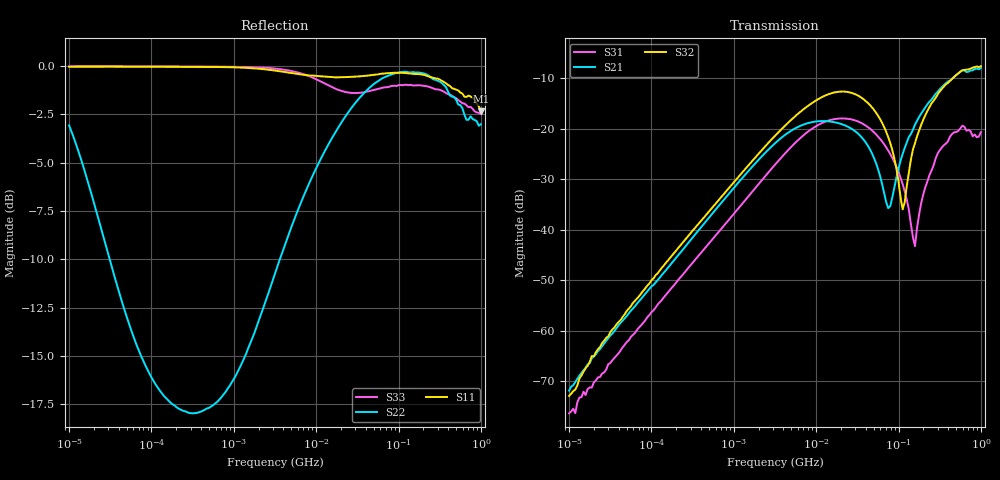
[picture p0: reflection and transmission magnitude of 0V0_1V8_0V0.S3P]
!Keysight Technologies,E5080A,MY55100144,A.11.70.03
!Date: Monday, November 13, 2017 17:24:20
!Correction: S11(Full 3 Port(1,2,3))
!S12(Full 3 Port(1,2,3))
!S13(Full 3 Port(1,2,3))
!S21(Full 3 Port(1,2,3))
!S22(Full 3 Port(1,2,3))
!S23(Full 3 Port(1,2,3))
!S31(Full 3 Port(1,2,3))
!S32(Full 3 Port(1,2,3))
!S33(Full 3 Port(1,2,3))
!S3P File: Measurements: <S11,S12,S13>,
!<S21,S22,S23>,
!<S31,S32,S33>:Log Frequency Sweep
# Hz S  RI  R 50
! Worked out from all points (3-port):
!   201 points, 10 kHz to 1 GHz, reference 50 ohm
!   strongest paths, dB at 10 kHz, 177.8 kHz, 3.162 MHz, 56.23 MHz, 1 GHz:
!     S32: -72.9, -45.1, -21.4, -17.4, -7.7
!     S21: -71.9, -46.5, -22.9, -28.0, -8.0
!     S31: -76.3, -51.4, -27.2, -21.6, -20.7
!   lowest |S11| = -2.3 dB at 1 GHz (marker M1), VSWR 7.47, Z = 374 + j6.29 ohm
!   |S11| at or under -10 dB: nowhere
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10000  0.9967 -0.00288  -0.000139 0.000144  -2.99e-08 0.000181
       -2.12e-05 0.000255  0.409 -0.5712  -0.00012 0.000131
       -5.4e-06 0.000152  -0.000154 0.000166  1 -0.00229
177827.9  0.9958 -0.0482  -5.92e-05 0.00502  0.000114 0.0027
          0.000492 0.00468  -0.1081 -0.0782  -0.000116 0.00429
          0.000126 0.00268  1.11e-05 0.00555  0.9987 -0.018
3162278  0.6836 -0.6936  0.0433 0.0646  0.0156 0.0401
         0.049 0.0519  -0.2131 -0.1973  0.0219 0.0672
         0.017 0.0405  0.0325 0.0782  0.9434 -0.2857
2.113489e7  -0.7226 -0.596  0.1152 -0.0367  0.127 -0.0035
            0.0989 -0.0467  -0.6808 -0.249  0.2282 0.00904
            0.125 -0.0141  0.2321 0.00412  0.0724 -0.8576
8.413951e7  -0.9599 0.0479  0.0153 0.0147  0.0178 -0.0476
            0.0149 0.0147  -0.9333 0.197  0.0301 -0.053
            0.0175 -0.0481  0.0298 -0.0533  -0.8275 -0.3251
1.122018e8  -0.9438 0.1806  0.0228 0.0513  0.00682 -0.0272
            0.0228 0.0512  -0.8971 0.3602  0.016 -0.00174
            0.00662 -0.0274  0.0157 -0.0018  -0.8829 -0.1299
1.584893e8  -0.884 0.3586  0.0548 0.0946  0.00707 -0.000454
            0.0548 0.0947  -0.7775 0.568  0.0377 0.0611
            0.00685 -0.000496  0.0376 0.061  -0.8853 0.1087
3.548134e8  -0.445 0.7937  0.2615 0.0619  0.0684 -0.000178
            0.2616 0.0619  -0.0112 0.8942  0.2483 0.0778
            0.0683 -0.000169  0.2481 0.0778  -0.5535 0.6569
6.683439e8  0.3582 0.7518  0.2265 -0.282  0.0198 -0.0932
            0.2265 -0.2825  0.6646 0.2929  0.2761 -0.2653
            0.0198 -0.0932  0.2761 -0.2652  0.1802 0.7713
1e9  0.764 0.00351  -0.0955 -0.385  -0.0559 -0.0724
     -0.096 -0.3851  0.5911 -0.3891  -0.0456 -0.4112
     -0.0565 -0.0725  -0.0451 -0.4113  0.6861 0.3089
